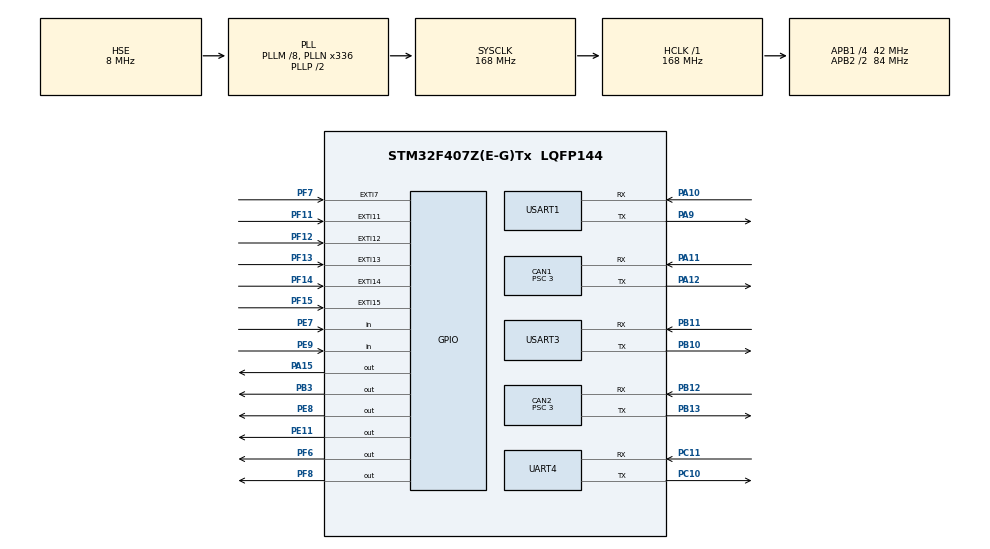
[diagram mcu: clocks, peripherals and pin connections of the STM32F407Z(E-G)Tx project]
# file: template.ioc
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CAN1.ABOM=ENABLE
CAN1.BS1=CAN_BS1_9TQ
CAN1.BS2=CAN_BS2_4TQ
CAN1.CalculateBaudRate=1000000
CAN1.CalculateTimeBit=1000
CAN1.CalculateTimeQuantum=71.42857142857143
CAN1.NART=DISABLE
CAN1.Prescaler=3
CAN2.ABOM=ENABLE
CAN2.BS1=CAN_BS1_9TQ
CAN2.BS2=CAN_BS2_4TQ
CAN2.CalculateBaudRate=1000000
CAN2.CalculateTimeBit=1000
CAN2.CalculateTimeQuantum=71.42857142857143
CAN2.NART=DISABLE
CAN2.Prescaler=3
FREERTOS.Tasks01=defaultTask,29,128,StartDefaultTask,Default,NULL,Dynamic,NULL,NULL;move_base_task,26,128,move_base,Default,NULL,Dynamic,NULL,NULL;data_update_tas,48,128,data_update,Default,NULL,Dynamic,NULL,NULL;motor_control_t,27,128,motor_control,Default,NULL,Dynamic,NULL,NULL
Mcu.Family=STM32F4
Mcu.Name=STM32F407Z(E-G)Tx
Mcu.Package=LQFP144
NVIC.CAN1_RX0_IRQn=true\:2\:0\:true\:false\:true\:false\:true\:true\:true
NVIC.CAN1_RX1_IRQn=true\:2\:0\:true\:false\:true\:false\:true\:true\:true
NVIC.CAN1_SCE_IRQn=true\:2\:0\:true\:false\:true\:false\:true\:true\:true
NVIC.CAN1_TX_IRQn=true\:2\:0\:true\:false\:true\:false\:true\:true\:true
NVIC.CAN2_RX0_IRQn=true\:5\:0\:false\:false\:true\:true\:true\:true\:true
NVIC.CAN2_RX1_IRQn=true\:5\:0\:false\:false\:true\:true\:true\:true\:true
NVIC.CAN2_SCE_IRQn=true\:5\:0\:false\:false\:true\:true\:true\:true\:true
NVIC.CAN2_TX_IRQn=true\:5\:0\:false\:false\:true\:true\:true\:true\:true
NVIC.EXTI15_10_IRQn=true\:5\:0\:false\:false\:true\:true\:true\:true\:true
NVIC.EXTI9_5_IRQn=true\:2\:0\:true\:false\:true\:false\:true\:true\:true
NVIC.PriorityGroup=NVIC_PRIORITYGROUP_4
NVIC.TIM2_IRQn=true\:5\:0\:false\:false\:true\:true\:true\:true\:true
NVIC.TIM6_DAC_IRQn=true\:15\:0\:false\:false\:true\:false\:false\:true\:true
NVIC.TimeBase=TIM6_DAC_IRQn
NVIC.TimeBaseIP=TIM6
NVIC.UART4_IRQn=true\:5\:0\:false\:false\:true\:true\:true\:true\:true
NVIC.USART1_IRQn=true\:5\:0\:false\:false\:true\:true\:true\:true\:true
NVIC.USART3_IRQn=true\:5\:0\:false\:false\:true\:false\:true\:true\:true
PA10.Mode=Asynchronous
PA10.Signal=USART1_RX
PA11.Mode=CAN_Activate
PA11.Signal=CAN1_RX
PA12.Mode=CAN_Activate
PA12.Signal=CAN1_TX
PA13.Mode=Serial_Wire
PA13.Signal=SYS_JTMS-SWDIO
PA14.Mode=Serial_Wire
PA14.Signal=SYS_JTCK-SWCLK
PA15.Signal=GPIO_Output
PA9.Mode=Asynchronous
PA9.Signal=USART1_TX
PB10.Mode=Asynchronous
PB10.Signal=USART3_TX
PB11.Mode=Asynchronous
PB11.Signal=USART3_RX
PB12.Mode=CAN_Activate
PB12.Signal=CAN2_RX
PB13.Mode=CAN_Activate
PB13.Signal=CAN2_TX
PB3.Signal=GPIO_Output
PC10.Mode=Asynchronous
PC10.Signal=UART4_TX
PC11.Mode=Asynchronous
PC11.Signal=UART4_RX
PC14-OSC32_IN.Mode=LSE-External-Oscillator
PC14-OSC32_IN.Signal=RCC_OSC32_IN
PC15-OSC32_OUT.Mode=LSE-External-Oscillator
PC15-OSC32_OUT.Signal=RCC_OSC32_OUT
PD5.Signal=USART2_TX
PD6.Signal=USART2_RX
PE11.Signal=GPIO_Output
PE7.GPIO_PuPd=GPIO_NOPULL
PE7.Signal=GPIO_Input
PE8.Signal=GPIO_Output
PE9.GPIO_PuPd=GPIO_NOPULL
PE9.Signal=GPIO_Input
PF11.GPIO_ModeDefaultEXTI=GPIO_MODE_IT_RISING_FALLING
PF11.Signal=GPXTI11
PF12.GPIO_ModeDefaultEXTI=GPIO_MODE_IT_RISING_FALLING
PF12.Signal=GPXTI12
PF13.GPIO_ModeDefaultEXTI=GPIO_MODE_IT_RISING_FALLING
PF13.Signal=GPXTI13
PF14.GPIO_ModeDefaultEXTI=GPIO_MODE_IT_RISING_FALLING
PF14.GPIO_PuPd=GPIO_PULLUP
PF14.Signal=GPXTI14
PF15.GPIO_ModeDefaultEXTI=GPIO_MODE_IT_RISING_FALLING
PF15.GPIO_PuPd=GPIO_PULLUP
PF15.Signal=GPXTI15
PF6.GPIO_PuPd=GPIO_PULLDOWN
PF6.GPIO_Speed=GPIO_SPEED_FREQ_LOW
PF6.Signal=GPIO_Output
PF7.GPIO_PuPd=GPIO_NOPULL
PF7.Signal=GPXTI7
PF8.GPIO_PuPd=GPIO_PULLDOWN
PF8.Signal=GPIO_Output
PF9.Signal=S_TIM14_CH1
PH0-OSC_IN.Mode=HSE-External-Oscillator
PH0-OSC_IN.Signal=RCC_OSC_IN
PH1-OSC_OUT.Mode=HSE-External-Oscillator
PH1-OSC_OUT.Signal=RCC_OSC_OUT
ProjectManager.HeapSize=0x200
ProjectManager.StackSize=0x400
ProjectManager.TargetToolchain=MDK-ARM V5.27
RCC.48MHZClocksFreq_Value=84000000
RCC.AHBFreq_Value=168000000
RCC.APB1CLKDivider=RCC_HCLK_DIV4
RCC.APB1Freq_Value=42000000
RCC.APB1TimFreq_Value=84000000
RCC.APB2CLKDivider=RCC_HCLK_DIV2
RCC.APB2Freq_Value=84000000
RCC.APB2TimFreq_Value=168000000
RCC.CortexFreq_Value=168000000
RCC.HCLKFreq_Value=168000000
RCC.HSE_VALUE=8000000
RCC.HSI_VALUE=16000000
RCC.PLLM=8
RCC.PLLN=336
RCC.PLLSourceVirtual=RCC_PLLSOURCE_HSE
RCC.SYSCLKFreq_VALUE=168000000
RCC.SYSCLKSource=RCC_SYSCLKSOURCE_PLLCLK
RCC.VCOOutputFreq_Value=336000000
SH.S_TIM14_CH1.0=TIM14_CH1
TIM2.AutoReloadPreload=TIM_AUTORELOAD_PRELOAD_ENABLE
TIM2.Period=10000
TIM2.Prescaler=83
UART4.VirtualMode=Asynchronous
USART1.VirtualMode=VM_ASYNC
USART3.VirtualMode=VM_ASYNC
VP_FREERTOS_VS_CMSIS_V2.Mode=CMSIS_V2
VP_SYS_VS_tim6.Mode=TIM6
VP_TIM2_VS_ClockSourceINT.Mode=Internal
board=custom

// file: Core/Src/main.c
/* USER CODE BEGIN Header */
//下面的注释一个都不要删，防止重新配置导致代码缺失
/**
  ******************************************************************************
  * @file           : main.c
  * @brief          : Main program body
  ******************************************************************************
  * @attention
  *
  * <h2><center>&copy; Copyright (c) 2023 STMicroelectronics.
  * All rights reserved.</center></h2>
  *
  * This software component is licensed by ST under Ultimate Liberty license
  * SLA0044, the "License"; You may not use this file except in compliance with
  * the License. You may obtain a copy of the License at:
  *                             www.st.com/SLA0044
  *
  ******************************************************************************
  */
/* USER CODE END Header */
#include "main.h"
#include "cmsis_os.h"
#include "can.h"
#include "tim.h"
#include "usart.h"
#include "gpio.h"

void SystemClock_Config(void);
void MX_FREERTOS_Init(void);

int main(void)
{

  /* MCU Configuration--------------------------------------------------------*/

  /* Reset of all peripherals, Initializes the Flash interface and the Systick. */
  HAL_Init();

  /* Configure the system clock */
  SystemClock_Config();

  /* Initialize all configured peripherals */
  MX_GPIO_Init();
  MX_CAN1_Init();
  MX_CAN2_Init();
  MX_TIM2_Init();
  MX_USART3_UART_Init();
  MX_UART4_Init();
  MX_USART1_UART_Init();
  /* USER CODE BEGIN 2 */

	HAL_UART_Receive_IT(&huart3,RxBuffer_for3, 1);

	HAL_TIM_Base_Start_IT(&htim2);
	HAL_CAN_Start(&hcan1);//**
	HAL_CAN_Start(&hcan2);

  M3508_Motor_Init();

  /* USER CODE END 2 */

  /* Init scheduler */
  osKernelInitialize();

  /* Call init function for freertos objects (in cmsis_os2.c) */
  MX_FREERTOS_Init();

  /* Start scheduler */
  osKernelStart();

  /* We should never get here as control is now taken by the scheduler */

  /* Infinite loop */
  while (1)
  {

  }
}

void SystemClock_Config(void)
{
  RCC_OscInitTypeDef RCC_OscInitStruct = {0};
  RCC_ClkInitTypeDef RCC_ClkInitStruct = {0};

  /** Configure the main internal regulator output voltage
  */
  __HAL_RCC_PWR_CLK_ENABLE();
  __HAL_PWR_VOLTAGESCALING_CONFIG(PWR_REGULATOR_VOLTAGE_SCALE1);

  /** Initializes the RCC Oscillators according to the specified parameters
  * in the RCC_OscInitTypeDef structure.
  */
  RCC_OscInitStruct.OscillatorType = RCC_OSCILLATORTYPE_HSE;
  RCC_OscInitStruct.HSEState = RCC_HSE_ON;
  RCC_OscInitStruct.PLL.PLLState = RCC_PLL_ON;
  RCC_OscInitStruct.PLL.PLLSource = RCC_PLLSOURCE_HSE;
  RCC_OscInitStruct.PLL.PLLM = 8;
  RCC_OscInitStruct.PLL.PLLN = 336;
  RCC_OscInitStruct.PLL.PLLP = RCC_PLLP_DIV2;
  RCC_OscInitStruct.PLL.PLLQ = 4;
  if (HAL_RCC_OscConfig(&RCC_OscInitStruct) != HAL_OK)
  {
    Error_Handler();
  }

  /** Initializes the CPU, AHB and APB buses clocks
  */
  RCC_ClkInitStruct.ClockType = RCC_CLOCKTYPE_HCLK|RCC_CLOCKTYPE_SYSCLK
                              |RCC_CLOCKTYPE_PCLK1|RCC_CLOCKTYPE_PCLK2;
  RCC_ClkInitStruct.SYSCLKSource = RCC_SYSCLKSOURCE_PLLCLK;
  RCC_ClkInitStruct.AHBCLKDivider = RCC_SYSCLK_DIV1;
  RCC_ClkInitStruct.APB1CLKDivider = RCC_HCLK_DIV4;
  RCC_ClkInitStruct.APB2CLKDivider = RCC_HCLK_DIV2;

  if (HAL_RCC_ClockConfig(&RCC_ClkInitStruct, FLASH_LATENCY_5) != HAL_OK)
  {
    Error_Handler();
  }
}

void HAL_TIM_PeriodElapsedCallback(TIM_HandleTypeDef *htim)
{
  if (htim->Instance == TIM6) {
    HAL_IncTick();
  }
  /* USER CODE BEGIN Callback 1 */
if (htim->Instance == TIM2)  // 检查是否是TIM2定时器中断
  {
    LAST_TIME_ISR_CNT = TIME_ISR_CNT;
    TIME_ISR_CNT++;
    Microsecond_Cnt++;
    if (Microsecond_Cnt >= 100)
    {
      Microsecond_Cnt = 0;
      Time_Sys[Second]++;
      if (Time_Sys[Second] >= 60)
      {
        Time_Sys[Second] = 0;
        Time_Sys[Minute]++;
        if (Time_Sys[Minute] >= 60)
        {
          Time_Sys[Minute] = 0;
          Time_Sys[Hour]++;
        }
      }
    }
    Time_Sys[MicroSecond] = Microsecond_Cnt;
  }
  /* USER CODE END Callback 1 */
}

void Error_Handler(void)
{
  __disable_irq();
  while (1)
  {
  }
}

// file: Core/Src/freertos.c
/* USER CODE BEGIN Header */
/**
  ******************************************************************************
  * File Name          : freertos.c
  * Description        : Code for freertos applications
  ******************************************************************************
  * @attention
  *
  * <h2><center>&copy; Copyright (c) 2023 STMicroelectronics.
  * All rights reserved.</center></h2>
  *
  * This software component is licensed by ST under Ultimate Liberty license
  * SLA0044, the "License"; You may not use this file except in compliance with
  * the License. You may obtain a copy of the License at:
  *                             www.st.com/SLA0044
  *
  ******************************************************************************
  */
/* USER CODE END Header */

#include "FreeRTOS.h"
#include "task.h"
#include "main.h"
#include "cmsis_os.h"

/* Definitions for defaultTask */
osThreadId_t defaultTaskHandle;
const osThreadAttr_t defaultTask_attributes = {
  .name = "defaultTask",
  .stack_size = 128 * 4,
  .priority = (osPriority_t) osPriorityNormal5,
};
/* Definitions for move_base_task */
osThreadId_t move_base_taskHandle;
const osThreadAttr_t move_base_task_attributes = {
  .name = "move_base_task",
  .stack_size = 128 * 4,
  .priority = (osPriority_t) osPriorityNormal2,
};
/* Definitions for data_update_tas */
osThreadId_t data_update_tasHandle;
const osThreadAttr_t data_update_tas_attributes = {
  .name = "data_update_tas",
  .stack_size = 128 * 4,
  .priority = (osPriority_t) osPriorityRealtime,
};
/* Definitions for motor_control_t */
osThreadId_t motor_control_tHandle;
const osThreadAttr_t motor_control_t_attributes = {
  .name = "motor_control_t",
  .stack_size = 128 * 4,
  .priority = (osPriority_t) osPriorityNormal3,
};

void StartDefaultTask(void *argument);
void move_base(void *argument);
void data_update(void *argument);
void motor_control(void *argument);

void MX_FREERTOS_Init(void); /* (MISRA C 2004 rule 8.1) */

void MX_FREERTOS_Init(void) {

  /* Create the thread(s) */
  /* creation of defaultTask */
  defaultTaskHandle = osThreadNew(StartDefaultTask, NULL, &defaultTask_attributes);

  /* creation of move_base_task */
  move_base_taskHandle = osThreadNew(move_base, NULL, &move_base_task_attributes);

  /* creation of data_update_tas */
  data_update_tasHandle = osThreadNew(data_update, NULL, &data_update_tas_attributes);

  /* creation of motor_control_t */
  motor_control_tHandle = osThreadNew(motor_control, NULL, &motor_control_t_attributes);

}

void StartDefaultTask(void *argument)
{
  /* USER CODE BEGIN StartDefaultTask */
  /* Infinite loop */
	static portTickType move_xLastWakeTime;
	const portTickType move_xFrequency = pdMS_TO_TICKS(10); // 延时10ms
	move_xLastWakeTime = xTaskGetTickCount(); // 获取当前计数值
  for(;;)
  {

		//shoot_calculation();                    //这里得改频率和挂起时长，不然其他任务执行不了
		//move();

    vTaskDelayUntil(&move_xLastWakeTime, move_xFrequency); // 绝对延时

  }
  /* USER CODE END StartDefaultTask */
}

void move_base(void *argument)
{
  /* USER CODE BEGIN move_base */

  /* Infinite loop */
  for(;;)
  {
	Contor_FSM();                   //遥控模式状态机
  Air_Pump_Control(PPM_Databuf);  //气缸拨杆与遥控开关拨杆冲突，注释
	osDelay(10);
}
  /* USER CODE END move_base */
}

void data_update(void *argument)
{
  /* USER CODE BEGIN data_update */
  /* Infinite loop */
  for(;;)
  {
	if(SWB==1000)
	{
		Kinematic_Analysis_Inverse();	//Robot_Control 底盘解算
	}
	else
	{
		Axis_analyse_for_WORLDtoROBOT();
		Kinematic_Analysis_Inverse();	//World_Control 底盘解算
	}
    osDelay(10);
  }
  /* USER CODE END data_update */
}

void motor_control(void *argument)
{
  /* USER CODE BEGIN motor_control */
  /* Infinite loop */
  for(;;)
  {

	MotorCtrl();//所有的电机的控制
    osDelay(1);
  }
  /* USER CODE END motor_control */
}
